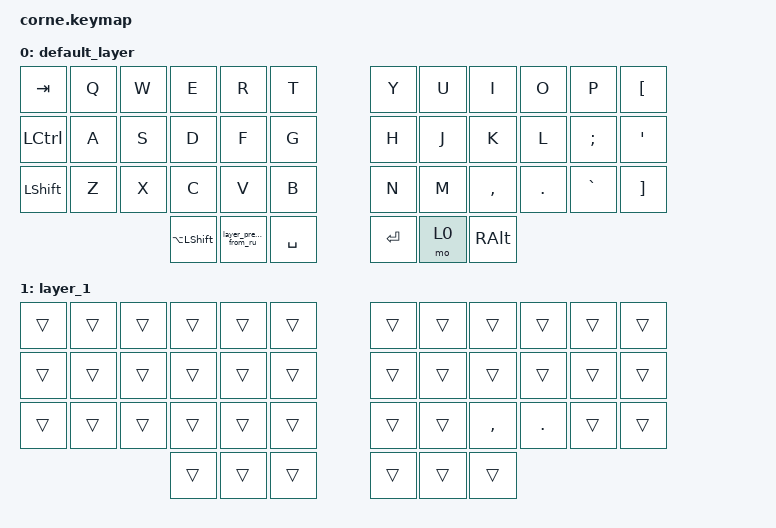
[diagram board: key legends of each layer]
/*
 * Copyright (c) 2020 The ZMK Contributors
 *
 * SPDX-License-Identifier: MIT
 */

#include <behaviors.dtsi>
#include <dt-bindings/zmk/keys.h>

/ {
    combos {
        compatible = "zmk,combos";

        combo_esc {
            timeout-ms = <50>;
            key-positions = <0 1>;
            bindings = <&kp ESC>;
        };

        combo_backspace {
            bindings = <&kp BACKSPACE>;
            key-positions = <7 8>;
        };

        combo_comma {
            bindings = <&comma_from_ru>;
            key-positions = <15 16>;
        };

        combo_dot {
            bindings = <&dot_from_ru>;
            key-positions = <19 20>;
        };
    };

    behaviors {
        ss_hs_modmorph: ss_hs_modmorph {
            compatible = "zmk,behavior-mod-morph";
            label = "SS_HS_MODMORPH";
            bindings = <&kp M>, <&kp RIGHT_BRACKET>;

            #binding-cells = <0>;
            mods = <(MOD_LSFT|MOD_RSFT)>;
        };

        kh_hs_tapdance: kh_hs_tapdance {
            compatible = "zmk,behavior-tap-dance";
            label = "KH_HS_TAPDANCE";
            #binding-cells = <0>;
            tapping-term-ms = <200>;
            bindings = <&kp LEFT_BRACKET>, <&kp RIGHT_BRACKET>;
        };

        hrm: hrm {
            compatible = "zmk,behavior-hold-tap";
            #binding-cells = <2>;
            flavor = "tap-preferred";
            tapping-term-ms = <200>;
            quick-tap-ms = <200>;
            require-prior-idle-ms = <125>;
            bindings = <&kp>, <&kp>;
        };
    };

    macros {
        lang_ru: lang_ru {
            compatible = "zmk,behavior-macro";
            #binding-cells = <0>;
            bindings = <&kp LC(N1)>;
            label = "LANG_RU";
        };

        lang_en: lang_en {
            compatible = "zmk,behavior-macro";
            #binding-cells = <0>;
            bindings = <&kp LC(N2)>;
            label = "LANG_EN";
        };

        layer_prepinaki_from_ru: layer_prepinaki {
            compatible = "zmk,behavior-macro";
            #binding-cells = <0>;
            bindings =
                <&macro_press>,
                <&mo 1>,
                <&macro_tap>,
                <&lang_en>,
                <&macro_pause_for_release>,
                <&macro_release>,
                <&mo 1>,
                <&macro_tap>,
                <&lang_ru>;

            label = "LAYER_PREPINAKI";
        };

        comma_from_ru: comma_from_ru {
            compatible = "zmk,behavior-macro";
            #binding-cells = <0>;
            bindings =
                <&macro_tap>,
                <&lang_en>,
                <&macro_tap>,
                <&kp COMMA>,
                <&macro_tap>,
                <&lang_ru>;

            label = "COMMA_FROM_RU";
        };

        dot_from_ru: dot_from_ru {
            compatible = "zmk,behavior-macro";
            #binding-cells = <0>;
            bindings =
                <&macro_tap>,
                <&lang_en>,
                <&macro_tap>,
                <&kp DOT>,
                <&macro_tap>,
                <&lang_ru>;

            label = "DOT_FROM_RU";
        };
    };

    keymap {
        compatible = "zmk,keymap";

        default_layer {
            // -----------------------------------------------------------------------------------------
            // |  TAB |  Q  |  W  |  E  |  R  |  T  |   |  Y  |  U   |  I  |  O  |  P  | BKSP |
            // | CTRL |  A  |  S  |  D  |  F  |  G  |   |  H  |  J   |  K  |  L  |  ;  |  '   |
            // | SHFT |  Z  |  X  |  C  |  V  |  B  |   |  N  |  M   |  ,  |  .  |  /  | ESC  |
            //                    | GUI | LWR | SPC |   | ENT | RSE  | ALT |

            bindings = <
&kp TAB    &kp Q  &kp W  &kp E               &kp R                     &kp T        &kp Y    &kp U  &kp I      &kp O    &kp P      &kp LEFT_BRACKET
&kp LCTRL  &kp A  &kp S  &kp D               &kp F                     &kp G        &kp H    &kp J  &kp K      &kp L    &kp SEMI   &kp SQT
&kp LSHFT  &kp Z  &kp X  &kp C               &kp V                     &kp B        &kp N    &kp M  &kp COMMA  &kp DOT  &kp GRAVE  &kp RIGHT_BRACKET
                         &kp LA(LEFT_SHIFT)  &layer_prepinaki_from_ru  &kp SPACE    &kp RET  &mo 0  &kp RALT
            >;
        };

        layer_1 {
            bindings = <
&trans  &trans  &trans  &trans  &trans  &trans    &trans  &trans  &trans     &trans   &trans  &trans
&trans  &trans  &trans  &trans  &trans  &trans    &trans  &trans  &trans     &trans   &trans  &trans
&trans  &trans  &trans  &trans  &trans  &trans    &trans  &trans  &kp COMMA  &kp DOT  &trans  &trans
                        &trans  &trans  &trans    &trans  &trans  &trans
            >;
        };
    };
};
